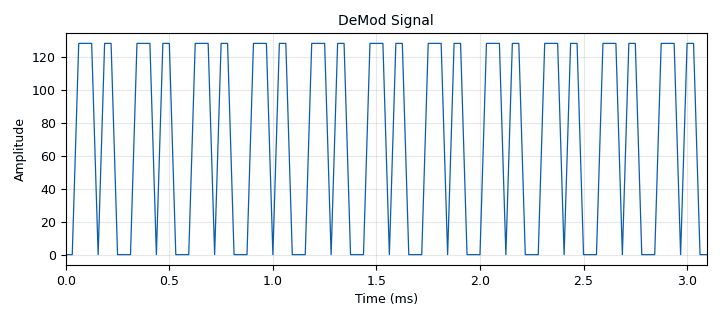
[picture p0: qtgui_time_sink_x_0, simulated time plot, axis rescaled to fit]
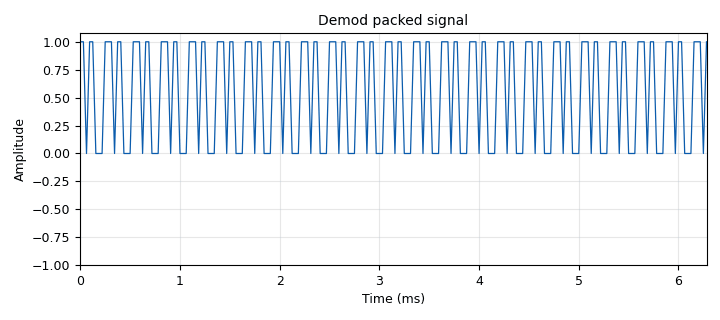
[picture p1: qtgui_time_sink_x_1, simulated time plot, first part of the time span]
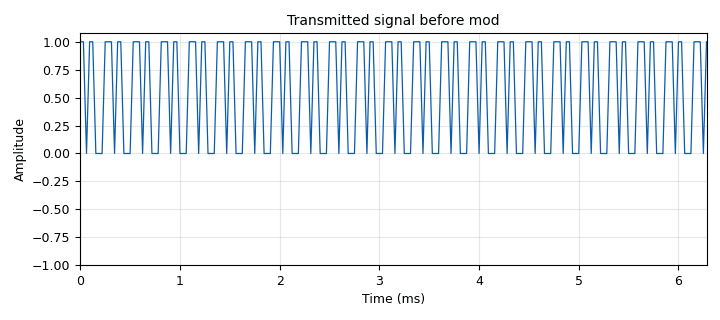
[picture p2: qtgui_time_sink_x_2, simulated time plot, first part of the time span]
options:
  parameters:
    generate_options: qt_gui
    id: FSKmod
    output_language: python
    title: Not titled yet
  states: {}

blocks:
- name: samp_rate
  id: variable
  parameters:
    value: '32000'
  states: {}
- name: blocks_delay_0
  id: blocks_delay
  parameters:
    delay: '0'
    type: float
  states: {}
- name: blocks_pack_k_bits_bb_0
  id: blocks_pack_k_bits_bb
  parameters:
    k: '8'
  states: {}
- name: blocks_repack_bits_bb_0
  id: blocks_repack_bits_bb
  parameters:
    endianness: gr.GR_LSB_FIRST
    k: '1'
    l: '8'
  states: {}
- name: blocks_stream_to_tagged_stream_0
  id: blocks_stream_to_tagged_stream
  parameters:
    len_tag_key: '"packet_len"'
    packet_len: '9'
    type: byte
  states: {}
- name: blocks_tag_debug_0
  id: blocks_tag_debug
  parameters:
    type: byte
  states: {}
- name: blocks_uchar_to_float_0
  id: blocks_uchar_to_float
  parameters: {}
  states: {}
- name: blocks_uchar_to_float_0_0
  id: blocks_uchar_to_float
  parameters: {}
  states: {}
- name: blocks_uchar_to_float_0_1
  id: blocks_uchar_to_float
  parameters: {}
  states: {}
- name: blocks_vector_source_x_0
  id: blocks_vector_source_x
  parameters:
    repeat: 'True'
    type: byte
    vector: (0,0,0,1,1,1,0,1,1)
  states: {}
- name: digital_gfsk_demod_0
  id: digital_gfsk_demod
  parameters:
    freq_error: '0.0'
    gain_mu: '0.175'
    mu: '0.5'
    omega_relative_limit: '0.005'
    samples_per_symbol: '2'
    sensitivity: '1.0'
  states: {}
- name: digital_gfsk_mod_0
  id: digital_gfsk_mod
  parameters:
    bt: '0.35'
    samples_per_symbol: '2'
    sensitivity: '1.0'
  states: {}
- name: qtgui_time_sink_x_0
  id: qtgui_time_sink_x
  parameters:
    name: '"DeMod Signal"'
    size: '100'
    srate: samp_rate
    type: float
  states: {}
- name: qtgui_time_sink_x_1
  id: qtgui_time_sink_x
  parameters:
    name: '"Demod packed signal"'
    size: '1024'
    srate: samp_rate
    type: float
  states: {}
- name: qtgui_time_sink_x_2
  id: qtgui_time_sink_x
  parameters:
    name: '"Transmitted signal before mod"'
    size: '1024'
    srate: samp_rate
    type: float
  states: {}

connections:
- [blocks_delay_0, '0', qtgui_time_sink_x_2, '0']
- [blocks_pack_k_bits_bb_0, '0', blocks_uchar_to_float_0_0, '0']
- [blocks_repack_bits_bb_0, '0', blocks_uchar_to_float_0, '0']
- [blocks_stream_to_tagged_stream_0, '0', blocks_tag_debug_0, '0']
- [blocks_stream_to_tagged_stream_0, '0', blocks_uchar_to_float_0_1, '0']
- [blocks_stream_to_tagged_stream_0, '0', digital_gfsk_mod_0, '0']
- [blocks_uchar_to_float_0, '0', qtgui_time_sink_x_0, '0']
- [blocks_uchar_to_float_0_0, '0', qtgui_time_sink_x_1, '0']
- [blocks_uchar_to_float_0_1, '0', blocks_delay_0, '0']
- [blocks_vector_source_x_0, '0', blocks_stream_to_tagged_stream_0, '0']
- [digital_gfsk_demod_0, '0', blocks_pack_k_bits_bb_0, '0']
- [digital_gfsk_demod_0, '0', blocks_repack_bits_bb_0, '0']
- [digital_gfsk_mod_0, '0', digital_gfsk_demod_0, '0']

metadata:
  file_format: 1
  grc_version: 3.10.11.0
